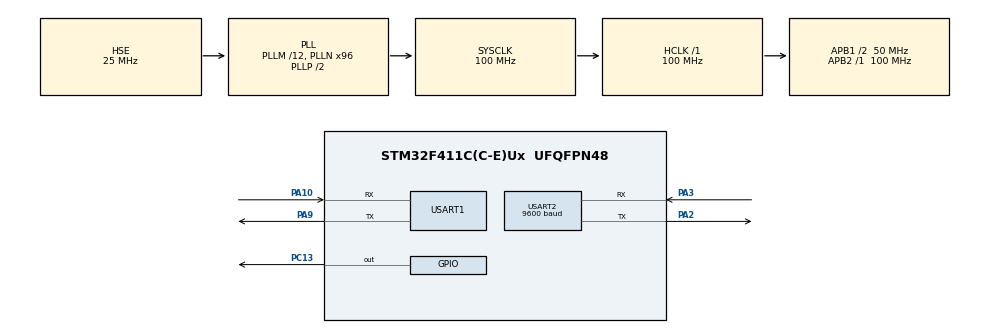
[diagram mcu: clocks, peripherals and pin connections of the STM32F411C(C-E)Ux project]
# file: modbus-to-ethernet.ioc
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FREERTOS.Tasks01=defaultTask,24,128,StartDefaultTask,Default,NULL,Dynamic,NULL,NULL
Mcu.Family=STM32F4
Mcu.Name=STM32F411C(C-E)Ux
Mcu.Package=UFQFPN48
NVIC.PriorityGroup=NVIC_PRIORITYGROUP_4
NVIC.TIM4_IRQn=true\:5\:0\:true\:false\:false\:true\:true\:true\:true
NVIC.TIM5_IRQn=true\:15\:0\:false\:false\:true\:false\:false\:true\:true
NVIC.TimeBase=TIM5_IRQn
NVIC.TimeBaseIP=TIM5
NVIC.USART2_IRQn=true\:5\:0\:false\:false\:false\:true\:true\:true\:true
PA10.Mode=Asynchronous
PA10.Signal=USART1_RX
PA13.Mode=Serial_Wire
PA13.Signal=SYS_JTMS-SWDIO
PA14.Mode=Serial_Wire
PA14.Signal=SYS_JTCK-SWCLK
PA2.Mode=Asynchronous
PA2.Signal=USART2_TX
PA3.Mode=Asynchronous
PA3.Signal=USART2_RX
PA9.Mode=Asynchronous
PA9.Signal=USART1_TX
PC13-ANTI_TAMP.Signal=GPIO_Output
PH0\ -\ OSC_IN.Mode=HSE-External-Oscillator
PH0\ -\ OSC_IN.Signal=RCC_OSC_IN
PH1\ -\ OSC_OUT.Mode=HSE-External-Oscillator
PH1\ -\ OSC_OUT.Signal=RCC_OSC_OUT
ProjectManager.HeapSize=0x200
ProjectManager.StackSize=0x400
ProjectManager.TargetToolchain=MDK-ARM V5.32
RCC.48MHZClocksFreq_Value=50000000
RCC.AHBFreq_Value=100000000
RCC.APB1CLKDivider=RCC_HCLK_DIV2
RCC.APB1Freq_Value=50000000
RCC.APB1TimFreq_Value=100000000
RCC.APB2Freq_Value=100000000
RCC.APB2TimFreq_Value=100000000
RCC.CortexFreq_Value=100000000
RCC.HCLKFreq_Value=100000000
RCC.HSE_VALUE=25000000
RCC.HSI_VALUE=16000000
RCC.LSE_VALUE=32768
RCC.PLLM=12
RCC.PLLN=96
RCC.PLLSourceVirtual=RCC_PLLSOURCE_HSE
RCC.SYSCLKFreq_VALUE=100000000
RCC.SYSCLKSource=RCC_SYSCLKSOURCE_PLLCLK
RCC.VCOOutputFreq_Value=200000000
USART1.VirtualMode=VM_ASYNC
USART2.BaudRate=9600
USART2.VirtualMode=VM_ASYNC
VP_FREERTOS_VS_CMSIS_V2.Mode=CMSIS_V2
VP_SYS_VS_tim5.Mode=TIM5
VP_TIM4_VS_ClockSourceINT.Mode=Internal
board=custom

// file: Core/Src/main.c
/* USER CODE BEGIN Header */
/**
  ******************************************************************************
  * @file           : main.c
  * @brief          : Main program body
  ******************************************************************************
  * @attention
  *
  * Copyright (c) 2026 STMicroelectronics.
  * All rights reserved.
  *
  * This software is licensed under terms that can be found in the LICENSE file
  * in the root directory of this software component.
  * If no LICENSE file comes with this software, it is provided AS-IS.
  *
  ******************************************************************************
  */
/* USER CODE END Header */
#include "main.h"
#include "cmsis_os.h"
#include "tim.h"
#include "usart.h"
#include "gpio.h"

/* USER CODE BEGIN Includes */
#include <stdio.h>
#include <string.h>
/* USER CODE END Includes */

void SystemClock_Config(void);
void MX_FREERTOS_Init(void);

/* USER CODE BEGIN 0 */
int fputc(int ch, FILE *f) {
  (void)f;  // 忽略参数，避免警告
  HAL_UART_Transmit(&huart1, (const uint8_t *)&ch, 1, 500); // 发送一个字节
  return ch;
}
/* USER CODE END 0 */

int main(void)
{

  /* MCU Configuration--------------------------------------------------------*/

  /* Reset of all peripherals, Initializes the Flash interface and the Systick. */
  HAL_Init();

  /* Configure the system clock */
  SystemClock_Config();

  /* Initialize all configured peripherals */
  MX_GPIO_Init();
  MX_TIM4_Init();
  MX_USART2_UART_Init();
  MX_USART1_UART_Init();

  /* Init scheduler */
  osKernelInitialize();  /* Call init function for freertos objects (in cmsis_os2.c) */
  MX_FREERTOS_Init();

  /* Start scheduler */
  osKernelStart();

  /* We should never get here as control is now taken by the scheduler */

  /* Infinite loop */
  while (1)
  {

  }
}

void SystemClock_Config(void)
{
  RCC_OscInitTypeDef RCC_OscInitStruct = {0};
  RCC_ClkInitTypeDef RCC_ClkInitStruct = {0};

  /** Configure the main internal regulator output voltage
  */
  __HAL_RCC_PWR_CLK_ENABLE();
  __HAL_PWR_VOLTAGESCALING_CONFIG(PWR_REGULATOR_VOLTAGE_SCALE1);

  /** Initializes the RCC Oscillators according to the specified parameters
  * in the RCC_OscInitTypeDef structure.
  */
  RCC_OscInitStruct.OscillatorType = RCC_OSCILLATORTYPE_HSE;
  RCC_OscInitStruct.HSEState = RCC_HSE_ON;
  RCC_OscInitStruct.PLL.PLLState = RCC_PLL_ON;
  RCC_OscInitStruct.PLL.PLLSource = RCC_PLLSOURCE_HSE;
  RCC_OscInitStruct.PLL.PLLM = 12;
  RCC_OscInitStruct.PLL.PLLN = 96;
  RCC_OscInitStruct.PLL.PLLP = RCC_PLLP_DIV2;
  RCC_OscInitStruct.PLL.PLLQ = 4;
  if (HAL_RCC_OscConfig(&RCC_OscInitStruct) != HAL_OK)
  {
    Error_Handler();
  }

  /** Initializes the CPU, AHB and APB buses clocks
  */
  RCC_ClkInitStruct.ClockType = RCC_CLOCKTYPE_HCLK|RCC_CLOCKTYPE_SYSCLK
                              |RCC_CLOCKTYPE_PCLK1|RCC_CLOCKTYPE_PCLK2;
  RCC_ClkInitStruct.SYSCLKSource = RCC_SYSCLKSOURCE_PLLCLK;
  RCC_ClkInitStruct.AHBCLKDivider = RCC_SYSCLK_DIV1;
  RCC_ClkInitStruct.APB1CLKDivider = RCC_HCLK_DIV2;
  RCC_ClkInitStruct.APB2CLKDivider = RCC_HCLK_DIV1;

  if (HAL_RCC_ClockConfig(&RCC_ClkInitStruct, FLASH_LATENCY_3) != HAL_OK)
  {
    Error_Handler();
  }
}

void HAL_TIM_PeriodElapsedCallback(TIM_HandleTypeDef *htim)
{
  if (htim->Instance == TIM5)
  {
    HAL_IncTick();
  }
}

void Error_Handler(void)
{
  __disable_irq();
  while (1)
  {
  }
}

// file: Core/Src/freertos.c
/* USER CODE BEGIN Header */
/**
  ******************************************************************************
  * File Name          : freertos.c
  * Description        : Code for freertos applications
  ******************************************************************************
  * @attention
  *
  * Copyright (c) 2026 STMicroelectronics.
  * All rights reserved.
  *
  * This software is licensed under terms that can be found in the LICENSE file
  * in the root directory of this software component.
  * If no LICENSE file comes with this software, it is provided AS-IS.
  *
  ******************************************************************************
  */
/* USER CODE END Header */

#include "FreeRTOS.h"
#include "task.h"
#include "main.h"
#include "cmsis_os.h"

/* USER CODE BEGIN Variables */
TaskHandle_t testTaskHandle = NULL;

/* USER CODE END Variables */
/* Definitions for defaultTask */
osThreadId_t defaultTaskHandle;
const osThreadAttr_t defaultTask_attributes = {
  .name = "defaultTask",
  .stack_size = 128 * 4,
  .priority = (osPriority_t) osPriorityNormal,
};

/* USER CODE BEGIN FunctionPrototypes */
void testTask(void *pvParameters);
extern void SlaveTaskCreate(void);
extern void MasterTaskCreate(void);
extern void test(void);
/* USER CODE END FunctionPrototypes */

void StartDefaultTask(void *argument);

void MX_FREERTOS_Init(void); /* (MISRA C 2004 rule 8.1) */

void MX_FREERTOS_Init(void) {

  /* Create the thread(s) */
  /* creation of defaultTask */
  defaultTaskHandle = osThreadNew(StartDefaultTask, NULL, &defaultTask_attributes);

  /* USER CODE BEGIN RTOS_THREADS */
  /* add threads, ... */
  //SlaveTaskCreate();
  xTaskCreate(testTask,
			"testTask",
			256,
			NULL,
			3,
			&testTaskHandle);
  MasterTaskCreate();
  /* USER CODE END RTOS_THREADS */

}

void StartDefaultTask(void *argument)
{
  for(;;)
  {
    osDelay(1);
  }
}

/* USER CODE BEGIN Application */
void testTask(void *pvParameters)
{
	while(1)
	{
		test();
		vTaskDelay(pdMS_TO_TICKS(500));
	}
}
/* USER CODE END Application */
